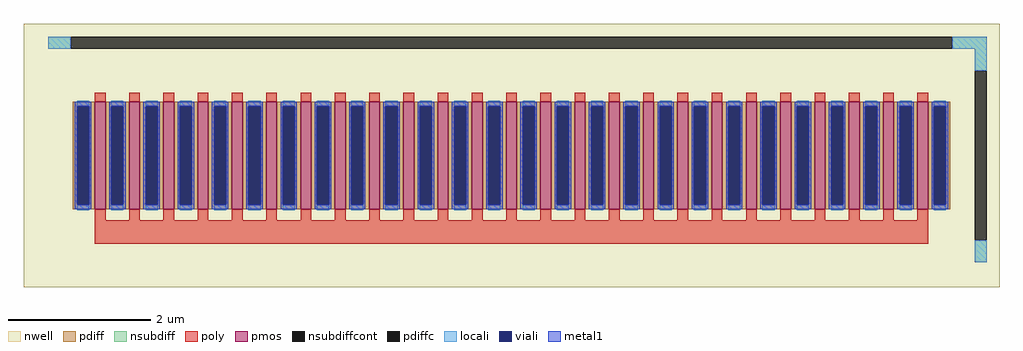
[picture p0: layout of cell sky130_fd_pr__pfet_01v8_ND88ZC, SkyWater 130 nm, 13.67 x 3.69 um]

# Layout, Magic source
magic
tech sky130A
magscale 1 2
<< nwell >>
rect -1367 -369 1367 369
<< pmos >>
rect -1167 -150 -1137 150
rect -1071 -150 -1041 150
rect -975 -150 -945 150
rect -879 -150 -849 150
rect -783 -150 -753 150
rect -687 -150 -657 150
rect -591 -150 -561 150
rect -495 -150 -465 150
rect -399 -150 -369 150
rect -303 -150 -273 150
rect -207 -150 -177 150
rect -111 -150 -81 150
rect -15 -150 15 150
rect 81 -150 111 150
rect 177 -150 207 150
rect 273 -150 303 150
rect 369 -150 399 150
rect 465 -150 495 150
rect 561 -150 591 150
rect 657 -150 687 150
rect 753 -150 783 150
rect 849 -150 879 150
rect 945 -150 975 150
rect 1041 -150 1071 150
rect 1137 -150 1167 150
<< pdiff >>
rect -1229 138 -1167 150
rect -1229 -138 -1217 138
rect -1183 -138 -1167 138
rect -1229 -150 -1167 -138
rect -1137 138 -1071 150
rect -1137 -138 -1121 138
rect -1087 -138 -1071 138
rect -1137 -150 -1071 -138
rect -1041 138 -975 150
rect -1041 -138 -1025 138
rect -991 -138 -975 138
rect -1041 -150 -975 -138
rect -945 138 -879 150
rect -945 -138 -929 138
rect -895 -138 -879 138
rect -945 -150 -879 -138
rect -849 138 -783 150
rect -849 -138 -833 138
rect -799 -138 -783 138
rect -849 -150 -783 -138
rect -753 138 -687 150
rect -753 -138 -737 138
rect -703 -138 -687 138
rect -753 -150 -687 -138
rect -657 138 -591 150
rect -657 -138 -641 138
rect -607 -138 -591 138
rect -657 -150 -591 -138
rect -561 138 -495 150
rect -561 -138 -545 138
rect -511 -138 -495 138
rect -561 -150 -495 -138
rect -465 138 -399 150
rect -465 -138 -449 138
rect -415 -138 -399 138
rect -465 -150 -399 -138
rect -369 138 -303 150
rect -369 -138 -353 138
rect -319 -138 -303 138
rect -369 -150 -303 -138
rect -273 138 -207 150
rect -273 -138 -257 138
rect -223 -138 -207 138
rect -273 -150 -207 -138
rect -177 138 -111 150
rect -177 -138 -161 138
rect -127 -138 -111 138
rect -177 -150 -111 -138
rect -81 138 -15 150
rect -81 -138 -65 138
rect -31 -138 -15 138
rect -81 -150 -15 -138
rect 15 138 81 150
rect 15 -138 31 138
rect 65 -138 81 138
rect 15 -150 81 -138
rect 111 138 177 150
rect 111 -138 127 138
rect 161 -138 177 138
rect 111 -150 177 -138
rect 207 138 273 150
rect 207 -138 223 138
rect 257 -138 273 138
rect 207 -150 273 -138
rect 303 138 369 150
rect 303 -138 319 138
rect 353 -138 369 138
rect 303 -150 369 -138
rect 399 138 465 150
rect 399 -138 415 138
rect 449 -138 465 138
rect 399 -150 465 -138
rect 495 138 561 150
rect 495 -138 511 138
rect 545 -138 561 138
rect 495 -150 561 -138
rect 591 138 657 150
rect 591 -138 607 138
rect 641 -138 657 138
rect 591 -150 657 -138
rect 687 138 753 150
rect 687 -138 703 138
rect 737 -138 753 138
rect 687 -150 753 -138
rect 783 138 849 150
rect 783 -138 799 138
rect 833 -138 849 138
rect 783 -150 849 -138
rect 879 138 945 150
rect 879 -138 895 138
rect 929 -138 945 138
rect 879 -150 945 -138
rect 975 138 1041 150
rect 975 -138 991 138
rect 1025 -138 1041 138
rect 975 -150 1041 -138
rect 1071 138 1137 150
rect 1071 -138 1087 138
rect 1121 -138 1137 138
rect 1071 -150 1137 -138
rect 1167 138 1229 150
rect 1167 -138 1183 138
rect 1217 -138 1229 138
rect 1167 -150 1229 -138
<< pdiffc >>
rect -1217 -138 -1183 138
rect -1121 -138 -1087 138
rect -1025 -138 -991 138
rect -929 -138 -895 138
rect -833 -138 -799 138
rect -737 -138 -703 138
rect -641 -138 -607 138
rect -545 -138 -511 138
rect -449 -138 -415 138
rect -353 -138 -319 138
rect -257 -138 -223 138
rect -161 -138 -127 138
rect -65 -138 -31 138
rect 31 -138 65 138
rect 127 -138 161 138
rect 223 -138 257 138
rect 319 -138 353 138
rect 415 -138 449 138
rect 511 -138 545 138
rect 607 -138 641 138
rect 703 -138 737 138
rect 799 -138 833 138
rect 895 -138 929 138
rect 991 -138 1025 138
rect 1087 -138 1121 138
rect 1183 -138 1217 138
<< nsubdiff >>
rect -1297 299 -1235 333
rect 1235 299 1331 333
rect 1297 237 1331 299
rect 1297 -299 1331 -237
<< nsubdiffcont >>
rect -1235 299 1235 333
rect 1297 -237 1331 237
<< poly >>
rect -1167 150 -1137 176
rect -1071 150 -1041 176
rect -975 150 -945 176
rect -879 150 -849 176
rect -783 150 -753 176
rect -687 150 -657 176
rect -591 150 -561 176
rect -495 150 -465 176
rect -399 150 -369 176
rect -303 150 -273 176
rect -207 150 -177 176
rect -111 150 -81 176
rect -15 150 15 176
rect 81 150 111 176
rect 177 150 207 176
rect 273 150 303 176
rect 369 150 399 176
rect 465 150 495 176
rect 561 150 591 176
rect 657 150 687 176
rect 753 150 783 176
rect 849 150 879 176
rect 945 150 975 176
rect 1041 150 1071 176
rect 1137 150 1167 176
rect -1167 -181 -1137 -150
rect -1071 -181 -1041 -150
rect -975 -181 -945 -150
rect -879 -181 -849 -150
rect -783 -181 -753 -150
rect -687 -181 -657 -150
rect -591 -181 -561 -150
rect -495 -181 -465 -150
rect -399 -181 -369 -150
rect -303 -181 -273 -150
rect -207 -181 -177 -150
rect -111 -181 -81 -150
rect -15 -181 15 -150
rect 81 -181 111 -150
rect 177 -181 207 -150
rect 273 -181 303 -150
rect 369 -181 399 -150
rect 465 -181 495 -150
rect 561 -181 591 -150
rect 657 -181 687 -150
rect 753 -181 783 -150
rect 849 -181 879 -150
rect 945 -181 975 -150
rect 1041 -181 1071 -150
rect 1137 -181 1167 -150
rect -1167 -247 1167 -181
<< locali >>
rect -1297 299 -1235 333
rect 1235 299 1331 333
rect 1297 237 1331 299
rect -1217 138 -1183 154
rect -1217 -154 -1183 -138
rect -1121 138 -1087 154
rect -1121 -154 -1087 -138
rect -1025 138 -991 154
rect -1025 -154 -991 -138
rect -929 138 -895 154
rect -929 -154 -895 -138
rect -833 138 -799 154
rect -833 -154 -799 -138
rect -737 138 -703 154
rect -737 -154 -703 -138
rect -641 138 -607 154
rect -641 -154 -607 -138
rect -545 138 -511 154
rect -545 -154 -511 -138
rect -449 138 -415 154
rect -449 -154 -415 -138
rect -353 138 -319 154
rect -353 -154 -319 -138
rect -257 138 -223 154
rect -257 -154 -223 -138
rect -161 138 -127 154
rect -161 -154 -127 -138
rect -65 138 -31 154
rect -65 -154 -31 -138
rect 31 138 65 154
rect 31 -154 65 -138
rect 127 138 161 154
rect 127 -154 161 -138
rect 223 138 257 154
rect 223 -154 257 -138
rect 319 138 353 154
rect 319 -154 353 -138
rect 415 138 449 154
rect 415 -154 449 -138
rect 511 138 545 154
rect 511 -154 545 -138
rect 607 138 641 154
rect 607 -154 641 -138
rect 703 138 737 154
rect 703 -154 737 -138
rect 799 138 833 154
rect 799 -154 833 -138
rect 895 138 929 154
rect 895 -154 929 -138
rect 991 138 1025 154
rect 991 -154 1025 -138
rect 1087 138 1121 154
rect 1087 -154 1121 -138
rect 1183 138 1217 154
rect 1183 -154 1217 -138
rect 1297 -299 1331 -237
<< viali >>
rect -1217 -138 -1183 138
rect -1121 -138 -1087 138
rect -1025 -138 -991 138
rect -929 -138 -895 138
rect -833 -138 -799 138
rect -737 -138 -703 138
rect -641 -138 -607 138
rect -545 -138 -511 138
rect -449 -138 -415 138
rect -353 -138 -319 138
rect -257 -138 -223 138
rect -161 -138 -127 138
rect -65 -138 -31 138
rect 31 -138 65 138
rect 127 -138 161 138
rect 223 -138 257 138
rect 319 -138 353 138
rect 415 -138 449 138
rect 511 -138 545 138
rect 607 -138 641 138
rect 703 -138 737 138
rect 799 -138 833 138
rect 895 -138 929 138
rect 991 -138 1025 138
rect 1087 -138 1121 138
rect 1183 -138 1217 138
<< metal1 >>
rect -1223 138 -1177 150
rect -1223 -138 -1217 138
rect -1183 -138 -1177 138
rect -1223 -150 -1177 -138
rect -1127 138 -1081 150
rect -1127 -138 -1121 138
rect -1087 -138 -1081 138
rect -1127 -150 -1081 -138
rect -1031 138 -985 150
rect -1031 -138 -1025 138
rect -991 -138 -985 138
rect -1031 -150 -985 -138
rect -935 138 -889 150
rect -935 -138 -929 138
rect -895 -138 -889 138
rect -935 -150 -889 -138
rect -839 138 -793 150
rect -839 -138 -833 138
rect -799 -138 -793 138
rect -839 -150 -793 -138
rect -743 138 -697 150
rect -743 -138 -737 138
rect -703 -138 -697 138
rect -743 -150 -697 -138
rect -647 138 -601 150
rect -647 -138 -641 138
rect -607 -138 -601 138
rect -647 -150 -601 -138
rect -551 138 -505 150
rect -551 -138 -545 138
rect -511 -138 -505 138
rect -551 -150 -505 -138
rect -455 138 -409 150
rect -455 -138 -449 138
rect -415 -138 -409 138
rect -455 -150 -409 -138
rect -359 138 -313 150
rect -359 -138 -353 138
rect -319 -138 -313 138
rect -359 -150 -313 -138
rect -263 138 -217 150
rect -263 -138 -257 138
rect -223 -138 -217 138
rect -263 -150 -217 -138
rect -167 138 -121 150
rect -167 -138 -161 138
rect -127 -138 -121 138
rect -167 -150 -121 -138
rect -71 138 -25 150
rect -71 -138 -65 138
rect -31 -138 -25 138
rect -71 -150 -25 -138
rect 25 138 71 150
rect 25 -138 31 138
rect 65 -138 71 138
rect 25 -150 71 -138
rect 121 138 167 150
rect 121 -138 127 138
rect 161 -138 167 138
rect 121 -150 167 -138
rect 217 138 263 150
rect 217 -138 223 138
rect 257 -138 263 138
rect 217 -150 263 -138
rect 313 138 359 150
rect 313 -138 319 138
rect 353 -138 359 138
rect 313 -150 359 -138
rect 409 138 455 150
rect 409 -138 415 138
rect 449 -138 455 138
rect 409 -150 455 -138
rect 505 138 551 150
rect 505 -138 511 138
rect 545 -138 551 138
rect 505 -150 551 -138
rect 601 138 647 150
rect 601 -138 607 138
rect 641 -138 647 138
rect 601 -150 647 -138
rect 697 138 743 150
rect 697 -138 703 138
rect 737 -138 743 138
rect 697 -150 743 -138
rect 793 138 839 150
rect 793 -138 799 138
rect 833 -138 839 138
rect 793 -150 839 -138
rect 889 138 935 150
rect 889 -138 895 138
rect 929 -138 935 138
rect 889 -150 935 -138
rect 985 138 1031 150
rect 985 -138 991 138
rect 1025 -138 1031 138
rect 985 -150 1031 -138
rect 1081 138 1127 150
rect 1081 -138 1087 138
rect 1121 -138 1127 138
rect 1081 -150 1127 -138
rect 1177 138 1223 150
rect 1177 -138 1183 138
rect 1217 -138 1223 138
rect 1177 -150 1223 -138
<< properties >>
string gencell sky130_fd_pr__pfet_01v8
string FIXED_BBOX -1314 -316 1314 316
string parameters w 1.5 l 0.15 m 1 nf 25 diffcov 100 polycov 100 guard 1 glc 1 grc 1 gtc 1 gbc 0 tbcov 100 rlcov 100 topc 0 botc 1 poverlap 0 doverlap 1 lmin 0.15 wmin 0.42 compatible {sky130_fd_pr__pfet_01v8  sky130_fd_pr__pfet_01v8_lvt sky130_fd_pr__pfet_01v8_hvt  sky130_fd_pr__pfet_g5v0d10v5} full_metal 1 viasrc 100 viadrn 100 viagate 100 viagb 0 viagr 0 viagl 0 viagt 0
string library sky130
<< end >>
